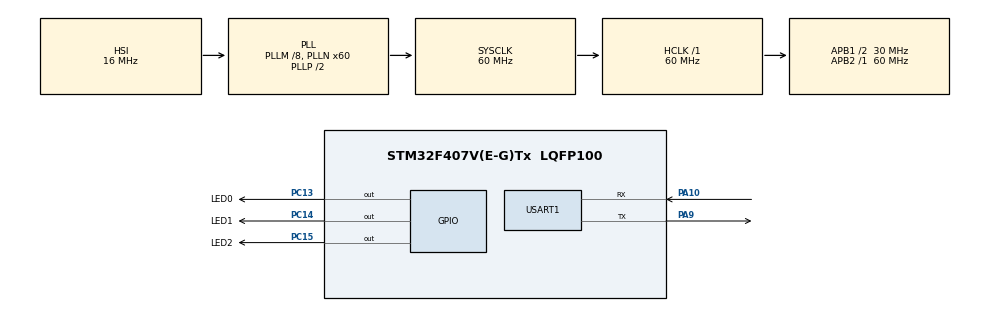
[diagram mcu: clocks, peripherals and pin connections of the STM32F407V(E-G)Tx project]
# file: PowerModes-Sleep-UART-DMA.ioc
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Dma.Request0=USART1_RX
Dma.Request1=USART1_TX
Dma.USART1_RX.0.Direction=DMA_PERIPH_TO_MEMORY
Dma.USART1_RX.0.FIFOMode=DMA_FIFOMODE_DISABLE
Dma.USART1_RX.0.Instance=DMA2_Stream2
Dma.USART1_RX.0.MemDataAlignment=DMA_MDATAALIGN_BYTE
Dma.USART1_RX.0.MemInc=DMA_MINC_ENABLE
Dma.USART1_RX.0.Mode=DMA_NORMAL
Dma.USART1_RX.0.PeriphDataAlignment=DMA_PDATAALIGN_BYTE
Dma.USART1_RX.0.PeriphInc=DMA_PINC_DISABLE
Dma.USART1_RX.0.Priority=DMA_PRIORITY_LOW
Dma.USART1_TX.1.Direction=DMA_MEMORY_TO_PERIPH
Dma.USART1_TX.1.FIFOMode=DMA_FIFOMODE_DISABLE
Dma.USART1_TX.1.Instance=DMA2_Stream7
Dma.USART1_TX.1.MemDataAlignment=DMA_MDATAALIGN_BYTE
Dma.USART1_TX.1.MemInc=DMA_MINC_ENABLE
Dma.USART1_TX.1.Mode=DMA_NORMAL
Dma.USART1_TX.1.PeriphDataAlignment=DMA_PDATAALIGN_BYTE
Dma.USART1_TX.1.PeriphInc=DMA_PINC_DISABLE
Dma.USART1_TX.1.Priority=DMA_PRIORITY_LOW
Mcu.Family=STM32F4
Mcu.Name=STM32F407V(E-G)Tx
Mcu.Package=LQFP100
NVIC.DMA2_Stream2_IRQn=true\:0\:0\:false\:false\:true\:false\:true
NVIC.DMA2_Stream7_IRQn=true\:0\:0\:false\:false\:true\:false\:true
NVIC.PriorityGroup=NVIC_PRIORITYGROUP_4
NVIC.USART1_IRQn=true\:0\:0\:false\:false\:true\:true\:true
PA10.Mode=Asynchronous
PA10.Signal=USART1_RX
PA9.Mode=Asynchronous
PA9.Signal=USART1_TX
PC13-ANTI_TAMP.GPIO_Label=LED0
PC13-ANTI_TAMP.Signal=GPIO_Output
PC14-OSC32_IN.GPIO_Label=LED1
PC14-OSC32_IN.Signal=GPIO_Output
PC15-OSC32_OUT.GPIO_Label=LED2
PC15-OSC32_OUT.Signal=GPIO_Output
ProjectManager.HeapSize=0x200
ProjectManager.StackSize=0x400
ProjectManager.TargetToolchain=MDK-ARM V5.27
RCC.48MHZClocksFreq_Value=30000000
RCC.AHBFreq_Value=60000000
RCC.APB1CLKDivider=RCC_HCLK_DIV2
RCC.APB1Freq_Value=30000000
RCC.APB1TimFreq_Value=60000000
RCC.APB2Freq_Value=60000000
RCC.APB2TimFreq_Value=60000000
RCC.CortexFreq_Value=60000000
RCC.HCLKFreq_Value=60000000
RCC.HSE_VALUE=25000000
RCC.HSI_VALUE=16000000
RCC.LSE_VALUE=32768
RCC.PLLM=8
RCC.PLLN=60
RCC.SYSCLKFreq_VALUE=60000000
RCC.SYSCLKSource=RCC_SYSCLKSOURCE_PLLCLK
RCC.VCOOutputFreq_Value=120000000
TIM5.Prescaler=60000-1
USART1.VirtualMode=VM_ASYNC
VP_TIM5_VS_ClockSourceINT.Mode=Internal
board=custom

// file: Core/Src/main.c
/* USER CODE BEGIN Header */
/**
  ******************************************************************************
  * @file           : main.c
  * @brief          : Main program body
  ******************************************************************************
  * @attention
  *
  * <h2><center>&copy; Copyright (c) 2024 STMicroelectronics.
  * All rights reserved.</center></h2>
  *
  * This software component is licensed by ST under BSD 3-Clause license,
  * the "License"; You may not use this file except in compliance with the
  * License. You may obtain a copy of the License at:
  *                        opensource.org/licenses/BSD-3-Clause
  *
  ******************************************************************************
  */
/* USER CODE END Header */
#include "main.h"
#include "dma.h"
#include "tim.h"
#include "usart.h"
#include "gpio.h"

/* USER CODE BEGIN Includes */
#include "CircularBuffer.h"
#include <string.h>
/* USER CODE END Includes */

/* USER CODE BEGIN PTD */
typedef struct {
  GPIO_TypeDef*       GPIO;
  uint16_t            Pin;
} Led_PinConfig;
/* USER CODE END PTD */

/* USER CODE BEGIN PD */
#define LED_CONFIGS_LEN     3
/* USER CODE END PD */

/* USER CODE BEGIN PV */
static const char STARTUP[] = "PowerModes-Sleep-UART-DMA\r\n";

static const Led_PinConfig LED_CONFIGS[LED_CONFIGS_LEN] = {
  { LED0_GPIO_Port, LED0_Pin },
  { LED1_GPIO_Port, LED1_Pin },
  { LED2_GPIO_Port, LED2_Pin },
};

static UART_CircularBuffer uart1Tx;
static UART_CircularBuffer uart1Rx;
static uint8_t uart1TxBuf[128];
static uint8_t uart1RxBuf[128];

/* USER CODE END PV */

void SystemClock_Config(void);
/* USER CODE BEGIN PFP */
void commandProcess(char* line);

char* Str_ignoreWhitespace(char* str);
uint32_t Str_convertUNum(char* str, int16_t* len);

/* USER CODE END PFP */

/* USER CODE BEGIN 0 */
uint32_t HAL_GetTick(void) {
  //return TIM5->CNT;
  return __HAL_TIM_GET_COUNTER(&htim5);
}

/* USER CODE END 0 */

int main(void)
{

  /* MCU Configuration--------------------------------------------------------*/

  /* Reset of all peripherals, Initializes the Flash interface and the Systick. */
  HAL_Init();

  /* Configure the system clock */
  SystemClock_Config();

  /* USER CODE BEGIN SysInit */
  MX_TIM5_Init();
  HAL_TIM_Base_Start(&htim5);

  SysTick->CTRL = 0;

  /* USER CODE END SysInit */

  /* Initialize all configured peripherals */
  MX_GPIO_Init();
  MX_DMA_Init();
  MX_USART1_UART_Init();
  MX_TIM5_Init();
  /* USER CODE BEGIN 2 */
  UART_CircularBuffer_init(&uart1Tx, &huart1, uart1TxBuf, sizeof(uart1TxBuf));
  UART_CircularBuffer_init(&uart1Rx, &huart1, uart1RxBuf, sizeof(uart1RxBuf));

  UART_CircularBuffer_receiveIdle(&uart1Rx);

  /* USER CODE END 2 */

  /* Infinite loop */
  /* USER CODE BEGIN WHILE */

  UART_CircularBuffer_writeBytes(&uart1Tx, (uint8_t*) STARTUP, sizeof(STARTUP) - 1);
  UART_CircularBuffer_transmit(&uart1Tx);
  while (1)
  {
    if (UART_CircularBuffer_available(&uart1Rx) > 0) {
      int16_t len = UART_CircularBuffer_findByte(&uart1Rx, '\n');
      if (len >= 0) {
        len += 1;
        // Check Empty Line
        if (len >= 2) {
          char buf[32];
          UART_CircularBuffer_readBytes(&uart1Rx, (uint8_t*) buf, len);
          buf[len] = '\0';
          // Process Line
          // Command Format:
          // LED = <num>, <state>
          commandProcess(buf);
        }
      }
    }

    // Enter Sleep
    HAL_PWR_EnableSleepOnExit();
    HAL_PWR_EnterSLEEPMode(PWR_MAINREGULATOR_ON, PWR_SLEEPENTRY_WFI);

    /* USER CODE END WHILE */

  }
}

void SystemClock_Config(void)
{
  RCC_OscInitTypeDef RCC_OscInitStruct = {0};
  RCC_ClkInitTypeDef RCC_ClkInitStruct = {0};

  /** Configure the main internal regulator output voltage
  */
  __HAL_RCC_PWR_CLK_ENABLE();
  __HAL_PWR_VOLTAGESCALING_CONFIG(PWR_REGULATOR_VOLTAGE_SCALE1);
  /** Initializes the RCC Oscillators according to the specified parameters
  * in the RCC_OscInitTypeDef structure.
  */
  RCC_OscInitStruct.OscillatorType = RCC_OSCILLATORTYPE_HSI;
  RCC_OscInitStruct.HSIState = RCC_HSI_ON;
  RCC_OscInitStruct.HSICalibrationValue = RCC_HSICALIBRATION_DEFAULT;
  RCC_OscInitStruct.PLL.PLLState = RCC_PLL_ON;
  RCC_OscInitStruct.PLL.PLLSource = RCC_PLLSOURCE_HSI;
  RCC_OscInitStruct.PLL.PLLM = 8;
  RCC_OscInitStruct.PLL.PLLN = 60;
  RCC_OscInitStruct.PLL.PLLP = RCC_PLLP_DIV2;
  RCC_OscInitStruct.PLL.PLLQ = 4;
  if (HAL_RCC_OscConfig(&RCC_OscInitStruct) != HAL_OK)
  {
    Error_Handler();
  }
  /** Initializes the CPU, AHB and APB buses clocks
  */
  RCC_ClkInitStruct.ClockType = RCC_CLOCKTYPE_HCLK|RCC_CLOCKTYPE_SYSCLK
                              |RCC_CLOCKTYPE_PCLK1|RCC_CLOCKTYPE_PCLK2;
  RCC_ClkInitStruct.SYSCLKSource = RCC_SYSCLKSOURCE_PLLCLK;
  RCC_ClkInitStruct.AHBCLKDivider = RCC_SYSCLK_DIV1;
  RCC_ClkInitStruct.APB1CLKDivider = RCC_HCLK_DIV2;
  RCC_ClkInitStruct.APB2CLKDivider = RCC_HCLK_DIV1;

  if (HAL_RCC_ClockConfig(&RCC_ClkInitStruct, FLASH_LATENCY_1) != HAL_OK)
  {
    Error_Handler();
  }
}

/* USER CODE BEGIN 4 */
void commandProcess(char* line) {
  if (strncmp(line, "LED", 3) == 0) {
    line += 3;
    line = Str_ignoreWhitespace(line);
    // Check '='
    if (line[0] == '=') {
      line += 1;
      line = Str_ignoreWhitespace(line);
      // Get Num
      int16_t len;
      uint8_t num = Str_convertUNum(line, &len);
      if (len > 0) {
        line += len;
        line = Str_ignoreWhitespace(line);
        // Check ','
        if (line[0] == ',') {
          line += 1;
          line = Str_ignoreWhitespace(line);
          uint8_t state = Str_convertUNum(line, &len);
          if (len > 0) {
            // Check Num
            if (num < LED_CONFIGS_LEN) {
              // Check State
              if (state <= 1) {
                HAL_GPIO_WritePin(LED_CONFIGS[num].GPIO, LED_CONFIGS[num].Pin, !state);

                static const char RESULT[] = "Ok\r\n";
                UART_CircularBuffer_writeBytes(&uart1Tx, (uint8_t*) RESULT, sizeof(RESULT) - 1);
                UART_CircularBuffer_transmit(&uart1Tx);
              }
              else {
                static const char RESULT[] = "Wrong State, Valid: 0,1\r\n";
                UART_CircularBuffer_writeBytes(&uart1Tx, (uint8_t*) RESULT, sizeof(RESULT) - 1);
                UART_CircularBuffer_transmit(&uart1Tx);
              }
            }
            else {
              static const char RESULT[] = "Wrong Num, Valid: 0,1,2\r\n";
              UART_CircularBuffer_writeBytes(&uart1Tx, (uint8_t*) RESULT, sizeof(RESULT) - 1);
              UART_CircularBuffer_transmit(&uart1Tx);
            }
          }
        }
      }
    }
    // Wrong Format
    else {
      static const char RESULT[] = "Wrong Format, Expected '='\r\n";
      UART_CircularBuffer_writeBytes(&uart1Tx, (uint8_t*) RESULT, sizeof(RESULT) - 1);
      UART_CircularBuffer_transmit(&uart1Tx);
    }
  }
}

char* Str_ignoreWhitespace(char* str) {
  while (*str != '\0' && *str <= ' ') {
    str++;
  }

  return str;
}
uint32_t Str_convertUNum(char* str, int16_t* len) {
  uint32_t z = 0;
  char* pStart = str;

  while (*str != 0 && (*str <= '9' && *str >= '0')) {
    z = (z * 10) + (*str++ - '0');
  }

  if (len) {
    *len = (int16_t)(str - pStart);
  }

  return z;
}

void HAL_UARTEx_RxEventCallback(UART_HandleTypeDef* huart, uint16_t len) {
  switch ((uint32_t) huart->Instance) {
    case USART1_BASE:
      UART_CircularBuffer_handleRxEvent(&uart1Rx, len);
      break;
  }

  HAL_PWR_DisableSleepOnExit();
}

void HAL_UART_RxCpltCallback(UART_HandleTypeDef* huart) {
  switch ((uint32_t) huart->Instance) {
    case USART1_BASE:
      UART_CircularBuffer_handleRx(&uart1Rx);
      break;
  }
}

void HAL_UART_TxCpltCallback(UART_HandleTypeDef* huart) {
  switch ((uint32_t) huart->Instance) {
    case USART1_BASE:
      UART_CircularBuffer_handleTx(&uart1Tx);
      break;
  }
}

void HAL_UART_ErrorCallback(UART_HandleTypeDef* huart) {
  switch ((uint32_t) huart->Instance) {
    case USART1_BASE:
      UART_CircularBuffer_resetIO(&uart1Tx);
      UART_CircularBuffer_resetIO(&uart1Rx);
      UART_CircularBuffer_receive(&uart1Rx);
      break;
  }
}

/* USER CODE END 4 */

void Error_Handler(void)
{
  __disable_irq();
  while (1)
  {
  }
}

/************************ (C) COPYRIGHT STMicroelectronics *****END OF FILE****/
